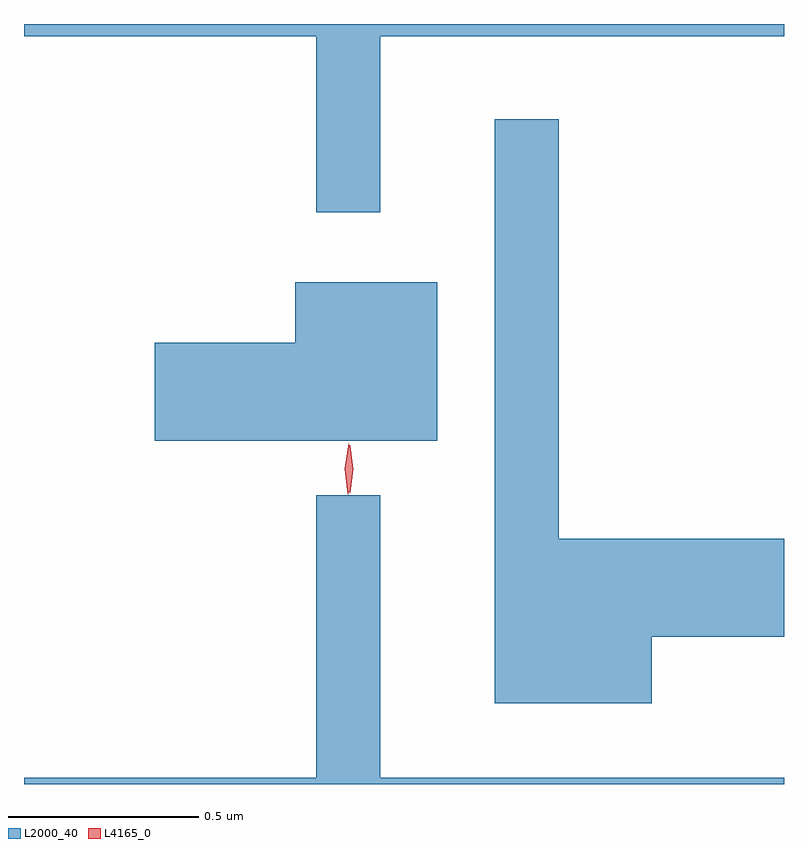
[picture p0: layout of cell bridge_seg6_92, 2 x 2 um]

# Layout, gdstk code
import gdstk
lib = gdstk.Library(unit=1e-6, precision=1e-09)
def P(c, l, *ps):  # polygons
    for p in ps: c.add(gdstk.Polygon(p, *l))
L2000_40 = (2000, 40)
L4165_0 = (4165, 0)

bridge_seg6_92 = lib.new_cell('bridge_seg6_92')
P(bridge_seg6_92, L2000_40, [(1138.669,1654.376),(1139.732,1654.376),(1139.732,1654.408),(1137.732,1654.408),(1137.732,1654.376),(1138.501,1654.376),(1138.501,1653.913),(1138.669,1653.913)],
  [(1139.384,1652.796),(1139.732,1652.796),(1139.732,1653.054),(1139.139,1653.054),(1139.139,1654.158),(1138.971,1654.158),(1138.971,1652.621),(1139.384,1652.621)],
  [(1138.819,1653.729),(1138.446,1653.729),(1138.446,1653.569),(1138.076,1653.569),(1138.076,1653.311),(1138.819,1653.311)],
  [(1139.732,1652.424),(1138.669,1652.424),(1138.669,1653.168),(1138.501,1653.168),(1138.501,1652.424),(1137.732,1652.424),(1137.732,1652.408),(1139.732,1652.408)])
P(bridge_seg6_92, L4165_0, [(1138.584,1653.17),(1138.576,1653.238),(1138.586,1653.305),(1138.586,1653.306),(1138.587,1653.305),(1138.596,1653.238),(1138.585,1653.17),(1138.585,1653.17)],
  [(1138.589,1653.173),(1138.589,1653.174),(1138.579,1653.236),(1138.589,1653.299),(1138.589,1653.3),(1138.59,1653.299),(1138.599,1653.236),(1138.59,1653.174)])

lib.write_gds('bridge_seg6_92.gds')
